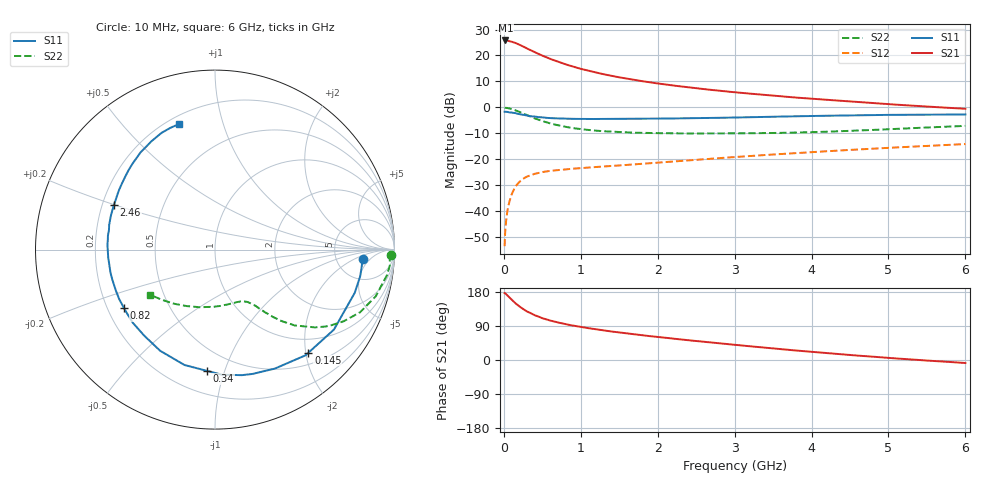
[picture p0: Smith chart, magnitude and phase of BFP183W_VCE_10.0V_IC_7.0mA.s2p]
! Infineon Technologies  Discrete & RF Semiconductors
! BFP183W
! VCE = 10.0V,  IC =  7.0 mA
! Common Emitter S-Parameters:  Jan 2016
# GHz  S  MA  R  50
!  f  S11  S21  S12  S22
! GHz  MAG  ANG  MAG  ANG  MAG  ANG  MAG  ANG
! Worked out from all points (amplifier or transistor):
!   210 points, 10 MHz to 6 GHz, reference 50 ohm
!   highest |S21| = 25.8 dB at 20 MHz (marker M1)
!   |S21| within 3 dB of that: start of sweep to 295.1 MHz
!   unconditionally stable (mu >= 1): 1.668 GHz to 5.648 GHz
!   at 185 MHz: K = 0.18, MSG = 26.9 dB, |S12| = -29.3 dB
!   at 1.52 GHz: K = 0.95, MSG = 16.9 dB, |S12| = -22.4 dB
!   at 6 GHz: K = 0.97, MSG = 6.8 dB, |S12| = -14.2 dB
!   S11 on the Smith chart (normalised r, x): 10 MHz: 9.40, -2.93; 145 MHz: 0.71, -2.05; 340 MHz: 0.35, -0.87; 820 MHz: 0.27, -0.27; 2.46 GHz: 0.25, +0.20; 6 GHz: 0.24, +0.73
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0.01  0.8234 -3.5  19.42 176.6  0.0021 81.3  0.9825 -1.6
0.02  0.8229 -7.0  19.49 175.4  0.0045 83.3  0.9756 -3.4
0.05  0.8149 -17.2  19.24 169.2  0.0108 80.5  0.969 -8.4
0.1  0.7986 -33.9  18.51 159.2  0.0206 72.2  0.9327 -16.2
0.145  0.7752 -47.8  17.56 150.7  0.0285 65.6  0.8847 -22.6
0.2  0.7421 -63.3  16.2 141.4  0.0362 59.1  0.8207 -29.1
0.24  0.7234 -73.3  15.19 136.0  0.0407 54.6  0.7736 -33.0
0.3  0.6983 -86.8  13.68 128.1  0.0461 49.5  0.7057 -37.9
0.34  0.677 -93.8  12.8 124.5  0.0485 46.8  0.6679 -40.0
0.4  0.6651 -104.8  11.6 118.2  0.0522 43.2  0.613 -43.6
0.5  0.6412 -118.5  9.935 110.3  0.0565 39.5  0.5429 -47.1
0.6  0.6207 -129.5  8.617 104.2  0.0595 37.1  0.4902 -49.5
0.7  0.6131 -138.5  7.621 99.1  0.0616 35.6  0.4511 -51.2
0.82  0.6026 -147.4  6.625 93.9  0.064 34.7  0.416 -52.8
1.02  0.5969 -158.8  5.433 86.7  0.0675 34.0  0.377 -54.9
1.42  0.5966 -175.7  3.997 74.7  0.0744 35.0  0.3384 -59.1
2.02  0.6058 166.4  2.862 60.4  0.0862 37.8  0.3172 -67.0
2.46  0.6156 156.0  2.371 50.9  0.0961 39.1  0.3136 -74.0
3.1  0.6398 142.8  1.894 38.2  0.1126 39.6  0.3155 -85.9
4.1  0.6851 126.0  1.434 20.0  0.1395 38.1  0.3354 -107.7
5.1  0.7164 113.7  1.126 4.1  0.1684 34.7  0.3838 -129.3
6  0.7283 105.9  0.938 -8.0  0.1958 30.9  0.4393 -144.9
